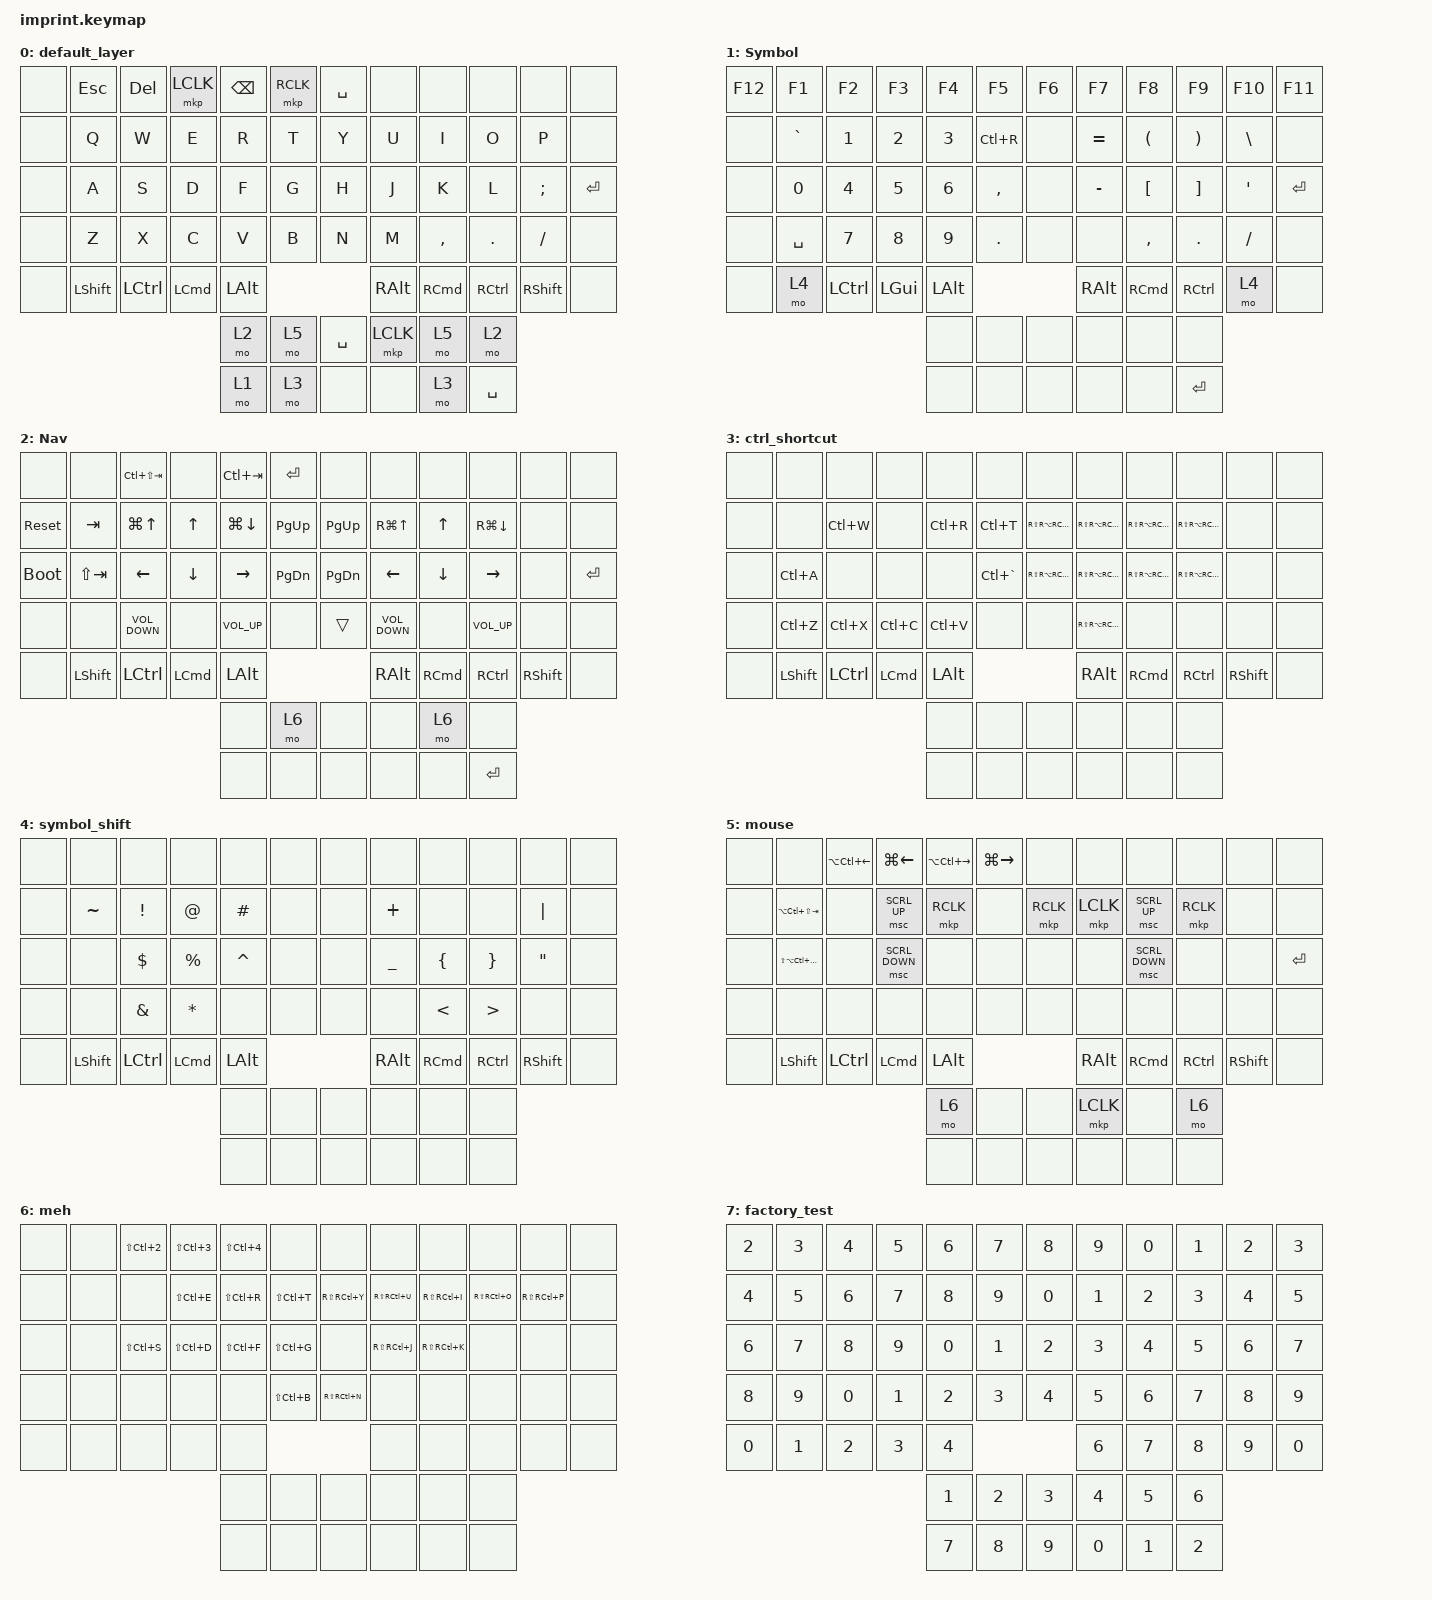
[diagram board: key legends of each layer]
#include <input/processors.dtsi>
#include <dt-bindings/zmk/input_transform.h>
#include <behaviors.dtsi>
#include <dt-bindings/zmk/keys.h>
#include <dt-bindings/zmk/pointing.h>

#define ZMK_POINTING_DEFAULT_MOVE_VAL 1500  // default: 600
#define ZMK_POINTING_DEFAULT_SCRL_VAL 15   // default: 10

&lt {
};

/ {
    chosen { zmk,physical-layout = &physical_layout_imprint_number_row_full_bottom_row; };

    keymap {
        compatible = "zmk,keymap";

        default_layer {
            bindings = <
&none  &kp ESCAPE      &kp DELETE  &mkp LCLK         &kp BACKSPACE  &mkp RCLK               &kp SPACE  &none          &none              &none      &none       &none
&none  &kp Q           &kp W       &kp E             &kp R          &kp T                   &kp Y      &kp U          &kp I              &kp O      &kp P       &none
&none  &kp A           &kp S       &kp D             &kp F          &kp G                   &kp H      &kp J          &kp K              &kp L      &kp SEMI    &kp ENTER
&none  &kp Z           &kp X       &kp C             &kp V          &kp B                   &kp N      &kp M          &kp COMMA          &kp DOT    &kp FSLH    &none
&none  &kp LEFT_SHIFT  &kp LCTRL   &kp LEFT_COMMAND  &kp LEFT_ALT                                      &kp RIGHT_ALT  &kp RIGHT_COMMAND  &kp RCTRL  &kp RSHIFT  &none
                                                     &mo 2          &mo 5      &kp SPACE    &mkp LCLK  &mo 5          &mo 2
                                                     &mo 1          &mo 3      &none        &none      &mo 3          &kp SPACE
            >;
        };

        Symbol {
            bindings = <
&kp F12  &kp F1        &kp F2        &kp F3        &kp F4        &kp F5               &kp F6  &kp F7         &kp F8                &kp F9                 &kp F10           &kp F11
&none    &kp GRAVE     &kp NUMBER_1  &kp NUMBER_2  &kp NUMBER_3  &kp LC(R)            &none   &kp EQUAL      &kp LEFT_PARENTHESIS  &kp RIGHT_PARENTHESIS  &kp BACKSLASH     &none
&none    &kp NUMBER_0  &kp N4        &kp N5        &kp N6        &kp COMMA            &none   &kp MINUS      &kp LEFT_BRACKET      &kp RIGHT_BRACKET      &kp SINGLE_QUOTE  &kp ENTER
&none    &kp SPACE     &kp NUMBER_7  &kp NUMBER_8  &kp NUMBER_9  &kp PERIOD           &none   &none          &kp COMMA             &kp PERIOD             &kp SLASH         &none
&none    &mo 4         &kp LCTRL     &kp LEFT_GUI  &kp LEFT_ALT                               &kp RIGHT_ALT  &kp RIGHT_COMMAND     &kp RCTRL              &mo 4             &none
                                                   &none         &none       &none    &none   &none          &none
                                                   &none         &none       &none    &none   &none          &kp ENTER
            >;
        };

        Nav {
            bindings = <
&none        &none           &kp LC(LS(TAB))    &none             &kp LC(TAB)         &kp ENTER               &none          &none              &none              &none               &none            &none
&sys_reset   &kp TAB         &kp LG(UP_ARROW)   &kp UP_ARROW      &kp LG(DOWN_ARROW)  &kp PAGE_UP             &kp PAGE_UP    &kp RG(UP_ARROW)   &kp UP_ARROW       &kp RG(DOWN_ARROW)  &none            &none
&bootloader  &kp LS(TAB)     &kp LEFT_ARROW     &kp DOWN_ARROW    &kp RIGHT_ARROW     &kp PAGE_DOWN           &kp PAGE_DOWN  &kp LEFT_ARROW     &kp DOWN_ARROW     &kp RIGHT_ARROW     &none            &kp ENTER
&none        &none           &kp C_VOLUME_DOWN  &none             &kp C_VOLUME_UP     &none                   &trans         &kp C_VOLUME_DOWN  &none              &kp C_VOLUME_UP     &none            &none
&none        &kp LEFT_SHIFT  &kp LCTRL          &kp LEFT_COMMAND  &kp LEFT_ALT                                               &kp RIGHT_ALT      &kp RIGHT_COMMAND  &kp RCTRL           &kp RIGHT_SHIFT  &none
                                                                  &none               &mo 6          &none    &none          &mo 6              &none
                                                                  &none               &none          &none    &none          &none              &kp ENTER
            >;
        };

        ctrl_shortcut {
            bindings = <
&none  &none           &none      &none             &none         &none                   &none                  &none                  &none                  &none                  &none            &none
&none  &none           &kp LC(W)  &none             &kp LC(R)     &kp LC(T)               &kp RS(RA(RC(RG(Y))))  &kp RS(RA(RC(RG(U))))  &kp RS(RA(RC(RG(I))))  &kp RS(RA(RC(RG(O))))  &none            &none
&none  &kp LC(A)       &none      &none             &none         &kp LC(GRAVE)           &kp RS(RA(RC(RG(H))))  &kp RS(RA(RC(RG(J))))  &kp RS(RA(RC(RG(K))))  &kp RS(RA(RC(RG(L))))  &none            &none
&none  &kp LC(Z)       &kp LC(X)  &kp LC(C)         &kp LC(V)     &none                   &none                  &kp RS(RA(RC(RG(M))))  &none                  &none                  &none            &none
&none  &kp LEFT_SHIFT  &kp LCTRL  &kp LEFT_COMMAND  &kp LEFT_ALT                                                 &kp RIGHT_ALT          &kp RIGHT_COMMAND      &kp RCTRL              &kp RIGHT_SHIFT  &none
                                                    &none         &none          &none    &none                  &none                  &none
                                                    &none         &none          &none    &none                  &none                  &none
            >;
        };

        symbol_shift {
            bindings = <
&none  &none           &none            &none             &none         &none           &none  &none          &none              &none             &none              &none
&none  &kp TILDE       &kp EXCLAMATION  &kp AT_SIGN       &kp HASH      &none           &none  &kp PLUS       &none              &none             &kp PIPE           &none
&none  &none           &kp DOLLAR       &kp PERCENT       &kp CARET     &none           &none  &kp UNDER      &kp LEFT_BRACE     &kp RIGHT_BRACE   &kp DOUBLE_QUOTES  &none
&none  &none           &kp AMPERSAND    &kp ASTERISK      &none         &none           &none  &none          &kp LESS_THAN      &kp GREATER_THAN  &none              &none
&none  &kp LEFT_SHIFT  &kp LCTRL        &kp LEFT_COMMAND  &kp LEFT_ALT                         &kp RIGHT_ALT  &kp RIGHT_COMMAND  &kp RCTRL         &kp RIGHT_SHIFT    &none
                                                          &none         &none  &none    &none  &none          &none
                                                          &none         &none  &none    &none  &none          &none
            >;
        };

        mouse {
            bindings = <
&none  &none                    &kp LA(LC(LEFT_ARROW))  &kp LG(LEFT_ARROW)  &kp LA(LC(RIGHT_ARROW))  &kp LG(RIGHT_ARROW)           &none      &none          &none              &none      &none            &none
&none  &kp LA(LC(LS(TAB)))      &none                   &msc SCRL_UP        &mkp RCLK                &none                         &mkp RCLK  &mkp LCLK      &msc SCRL_UP       &mkp RCLK  &none            &none
&none  &kp LS(LA(LC(LG(TAB))))  &none                   &msc SCRL_DOWN      &none                    &none                         &none      &none          &msc SCRL_DOWN     &none      &none            &kp ENTER
&none  &none                    &none                   &none               &none                    &none                         &none      &none          &none              &none      &none            &none
&none  &kp LEFT_SHIFT           &kp LCTRL               &kp LEFT_COMMAND    &kp LEFT_ALT                                                      &kp RIGHT_ALT  &kp RIGHT_COMMAND  &kp RCTRL  &kp RIGHT_SHIFT  &none
                                                                            &mo 6                    &none                &none    &mkp LCLK  &none          &mo 6
                                                                            &none                    &none                &none    &none      &none          &none
            >;
        };

        meh {
            bindings = <
&none  &none  &kp LS(LC(NUMBER_2))  &kp LS(LC(NUMBER_3))  &kp LS(LC(NUMBER_4))  &none                   &none          &none          &none          &none          &none          &none
&none  &none  &none                 &kp LS(LC(E))         &kp LS(LC(R))         &kp LS(LC(T))           &kp RS(RC(Y))  &kp RS(RC(U))  &kp RS(RC(I))  &kp RS(RC(O))  &kp RS(RC(P))  &none
&none  &none  &kp LS(LC(S))         &kp LS(LC(D))         &kp LS(LC(F))         &kp LS(LC(G))           &none          &kp RS(RC(J))  &kp RS(RC(K))  &none          &none          &none
&none  &none  &none                 &none                 &none                 &kp LS(LC(B))           &kp RS(RC(N))  &none          &none          &none          &none          &none
&none  &none  &none                 &none                 &none                                                        &none          &none          &none          &none          &none
                                                          &none                 &none          &none    &none          &none          &none
                                                          &none                 &none          &none    &none          &none          &none
            >;
        };

        factory_test {
            bindings = <
&kp N2  &kp N3  &kp N4  &kp N5  &kp N6  &kp N7            &kp N8  &kp N9  &kp N0  &kp N1  &kp N2  &kp N3
&kp N4  &kp N5  &kp N6  &kp N7  &kp N8  &kp N9            &kp N0  &kp N1  &kp N2  &kp N3  &kp N4  &kp N5
&kp N6  &kp N7  &kp N8  &kp N9  &kp N0  &kp N1            &kp N2  &kp N3  &kp N4  &kp N5  &kp N6  &kp N7
&kp N8  &kp N9  &kp N0  &kp N1  &kp N2  &kp N3            &kp N4  &kp N5  &kp N6  &kp N7  &kp N8  &kp N9
&kp N0  &kp N1  &kp N2  &kp N3  &kp N4                            &kp N6  &kp N7  &kp N8  &kp N9  &kp N0
                                &kp N1  &kp N2  &kp N3    &kp N4  &kp N5  &kp N6
                                &kp N7  &kp N8  &kp N9    &kp N0  &kp N1  &kp N2
            >;
        };
    };
};

// right hand trackball configuration
// &trackball_peripheral_listener {
//    input-processors =
//     activate layer 3 within 500ms of the trackball moving
//     <&zip_temp_layer 3 500>;
// };
//left hand trackball configuration

&trackball_central_listener {
    input-processors =
        // multiply sensitivity by 1, divide by 3 (make it slower for scrolling),,,,,,,,,,,,,,,,,,,,,,,,,,,,,,,,,,,,,,,,,,,,,,,,,,,,,,,,,,
        <&zip_xy_scaler 100 1>,
        // make this trackball output scrolling events by default instead of cursor movement,,,,,,,,,,,,,,,,,,,,,,,,,,,,,,,,,,,,,,,,,,,,,,,,,,,,,,,,,,
        <&zip_xy_to_scroll_mapper>,
        // invert vertical scrolling so that the view moves in the same direction as the top of the trackball.,,,,,,,,,,,,,,,,,,,,,,,,,,,,,,,,,,,,,,,,,,,,,,,,,,,,,,,,,,
        <&zip_scroll_transform INPUT_TRANSFORM_Y_INVERT>;
};
